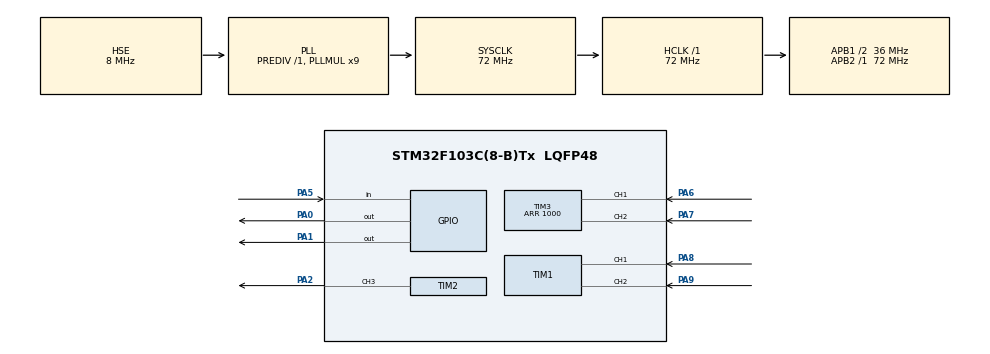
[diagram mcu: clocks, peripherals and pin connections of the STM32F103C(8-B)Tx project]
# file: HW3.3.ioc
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Mcu.Family=STM32F1
Mcu.Name=STM32F103C(8-B)Tx
Mcu.Package=LQFP48
NVIC.PriorityGroup=NVIC_PRIORITYGROUP_4
PA0-WKUP.Signal=GPIO_Output
PA1.Signal=GPIO_Output
PA13.Mode=Serial_Wire
PA13.Signal=SYS_JTMS-SWDIO
PA14.Mode=Serial_Wire
PA14.Signal=SYS_JTCK-SWCLK
PA2.Signal=S_TIM2_CH3
PA5.GPIO_PuPd=GPIO_PULLUP
PA5.Signal=GPIO_Input
PA6.Signal=S_TIM3_CH1
PA7.Signal=S_TIM3_CH2
PA8.Signal=S_TIM1_CH1
PA9.Signal=S_TIM1_CH2
PD0-OSC_IN.Mode=HSE-External-Oscillator
PD0-OSC_IN.Signal=RCC_OSC_IN
PD1-OSC_OUT.Mode=HSE-External-Oscillator
PD1-OSC_OUT.Signal=RCC_OSC_OUT
ProjectManager.HeapSize=0x200
ProjectManager.StackSize=0x400
ProjectManager.TargetToolchain=MDK-ARM V5.32
RCC.AHBFreq_Value=72000000
RCC.APB1CLKDivider=RCC_HCLK_DIV2
RCC.APB1Freq_Value=36000000
RCC.APB1TimFreq_Value=72000000
RCC.APB2Freq_Value=72000000
RCC.APB2TimFreq_Value=72000000
RCC.HCLKFreq_Value=72000000
RCC.PLLMUL=RCC_PLL_MUL9
RCC.PLLSourceVirtual=RCC_PLLSOURCE_HSE
RCC.SYSCLKFreq_VALUE=72000000
RCC.SYSCLKSource=RCC_SYSCLKSOURCE_PLLCLK
RCC.USBFreq_Value=72000000
SH.S_TIM1_CH1.0=TIM1_CH1,Encoder_Interface
SH.S_TIM1_CH2.0=TIM1_CH2,Encoder_Interface
SH.S_TIM2_CH3.0=TIM2_CH3,PWM Generation3 CH3
SH.S_TIM3_CH1.0=TIM3_CH1,Encoder_Interface
SH.S_TIM3_CH2.0=TIM3_CH2,Encoder_Interface
TIM1.EncoderMode=TIM_ENCODERMODE_TI12
TIM2.Channel-PWM\ Generation3\ CH3=TIM_CHANNEL_3
TIM2.Period=99
TIM2.Prescaler=35
TIM3.Period=1000
board=custom

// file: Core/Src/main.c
/* USER CODE BEGIN Header */
/**
  ******************************************************************************
  * @file           : main.c
  * @brief          : Main program body
  ******************************************************************************
  * @attention
  *
  * Copyright (c) 2026 STMicroelectronics.
  * All rights reserved.
  *
  * This software is licensed under terms that can be found in the LICENSE file
  * in the root directory of this software component.
  * If no LICENSE file comes with this software, it is provided AS-IS.
  *
  ******************************************************************************
  */
/* USER CODE END Header */
#include "main.h"
#include "tim.h"
#include "gpio.h"

/* USER CODE BEGIN Includes */
#include "OLED.h"
/* USER CODE END Includes */

/* USER CODE BEGIN PV */
uint16_t motor_speed=300;
uint16_t duty=100;
void Motor_Forward(uint16_t speed)
 {
     HAL_GPIO_WritePin(GPIOA, GPIO_PIN_0, GPIO_PIN_SET);
     HAL_GPIO_WritePin(GPIOA, GPIO_PIN_1, GPIO_PIN_RESET);
     __HAL_TIM_SET_COMPARE(&htim2, TIM_CHANNEL_3, speed);
 }
void Motor_Backward(uint16_t speed)
 {
     HAL_GPIO_WritePin(GPIOA, GPIO_PIN_0, GPIO_PIN_RESET);
     HAL_GPIO_WritePin(GPIOA, GPIO_PIN_1, GPIO_PIN_SET);
     __HAL_TIM_SET_COMPARE(&htim2, TIM_CHANNEL_3, speed);

}
/* USER CODE END PV */

void SystemClock_Config(void);

int main(void)
{

  /* MCU Configuration--------------------------------------------------------*/

  /* Reset of all peripherals, Initializes the Flash interface and the Systick. */
  HAL_Init();

  /* Configure the system clock */
  SystemClock_Config();

  /* Initialize all configured peripherals */
  MX_GPIO_Init();
  MX_TIM1_Init();
  MX_TIM2_Init();
  MX_TIM3_Init();
  /* USER CODE BEGIN 2 */
	HAL_TIM_Encoder_Start(&htim3,TIM_CHANNEL_1);
	HAL_TIM_Encoder_Start(&htim3,TIM_CHANNEL_2);
	OLED_Init();
	HAL_TIM_PWM_Start(&htim2,TIM_CHANNEL_3);
	__HAL_TIM_SET_COMPARE(&htim2,TIM_CHANNEL_3,motor_speed);
	HAL_TIM_PWM_Start(&htim1,TIM_CHANNEL_1);
	HAL_TIM_PWM_Start(&htim1,TIM_CHANNEL_2);
	float kp=2.0f;
	float ki=0.04f;
	float kd=0.08f;

  /* USER CODE END 2 */

  /* Infinite loop */
  /* USER CODE BEGIN WHILE */
  while (1)
  {
		uint16_t cnt = __HAL_TIM_GET_COUNTER(&htim3);
		OLED_ShowString(1,1,"CNT:");
		OLED_ShowNum(1,5,cnt,4);
		float error;
		float last_error;
		float integral;

//		__HAL_TIM_SET_COMPARE(&htim2,TIM_CHANNEL_3,SPEED);
//		Motor_Forward(SPEED);
		uint16_t target=cnt/(13.0*20.0*4.0*0.1)*60.0;
		uint16_t SPEED=cnt/(13.0*20.0*4.0*0.1)*60.0;
		uint16_t N= __HAL_TIM_GET_COUNTER(&htim1);
		uint16_t rSPEED=N/(13.0f*20.0f*4.0f*0.1f)*60.0f;

		error=target-rSPEED;
 		integral += error;
 		float diff = error - last_error;
 		float pid_out =kp* error +ki * integral + kd * diff;
 		last_error = error;
 		if(pid_out > 999) pid_out = 999;
 		if(pid_out < 0) pid_out = 0;
 		__HAL_TIM_SET_COMPARE(&htim2, TIM_CHANNEL_3, pid_out);
		Motor_Forward(pid_out);

		OLED_ShowString(2,1,"rSPEED:");
		OLED_ShowNum(2,7,rSPEED,4);
		OLED_ShowString(3,1,"TARGET:");
		OLED_ShowNum(3,8,target,4);
    /* USER CODE END WHILE */

  }
}

void SystemClock_Config(void)
{
  RCC_OscInitTypeDef RCC_OscInitStruct = {0};
  RCC_ClkInitTypeDef RCC_ClkInitStruct = {0};

  /** Initializes the RCC Oscillators according to the specified parameters
  * in the RCC_OscInitTypeDef structure.
  */
  RCC_OscInitStruct.OscillatorType = RCC_OSCILLATORTYPE_HSE;
  RCC_OscInitStruct.HSEState = RCC_HSE_ON;
  RCC_OscInitStruct.HSEPredivValue = RCC_HSE_PREDIV_DIV1;
  RCC_OscInitStruct.HSIState = RCC_HSI_ON;
  RCC_OscInitStruct.PLL.PLLState = RCC_PLL_ON;
  RCC_OscInitStruct.PLL.PLLSource = RCC_PLLSOURCE_HSE;
  RCC_OscInitStruct.PLL.PLLMUL = RCC_PLL_MUL9;
  if (HAL_RCC_OscConfig(&RCC_OscInitStruct) != HAL_OK)
  {
    Error_Handler();
  }

  /** Initializes the CPU, AHB and APB buses clocks
  */
  RCC_ClkInitStruct.ClockType = RCC_CLOCKTYPE_HCLK|RCC_CLOCKTYPE_SYSCLK
                              |RCC_CLOCKTYPE_PCLK1|RCC_CLOCKTYPE_PCLK2;
  RCC_ClkInitStruct.SYSCLKSource = RCC_SYSCLKSOURCE_PLLCLK;
  RCC_ClkInitStruct.AHBCLKDivider = RCC_SYSCLK_DIV1;
  RCC_ClkInitStruct.APB1CLKDivider = RCC_HCLK_DIV2;
  RCC_ClkInitStruct.APB2CLKDivider = RCC_HCLK_DIV1;

  if (HAL_RCC_ClockConfig(&RCC_ClkInitStruct, FLASH_LATENCY_2) != HAL_OK)
  {
    Error_Handler();
  }
}

void Error_Handler(void)
{
  __disable_irq();
  while (1)
  {
  }
}
